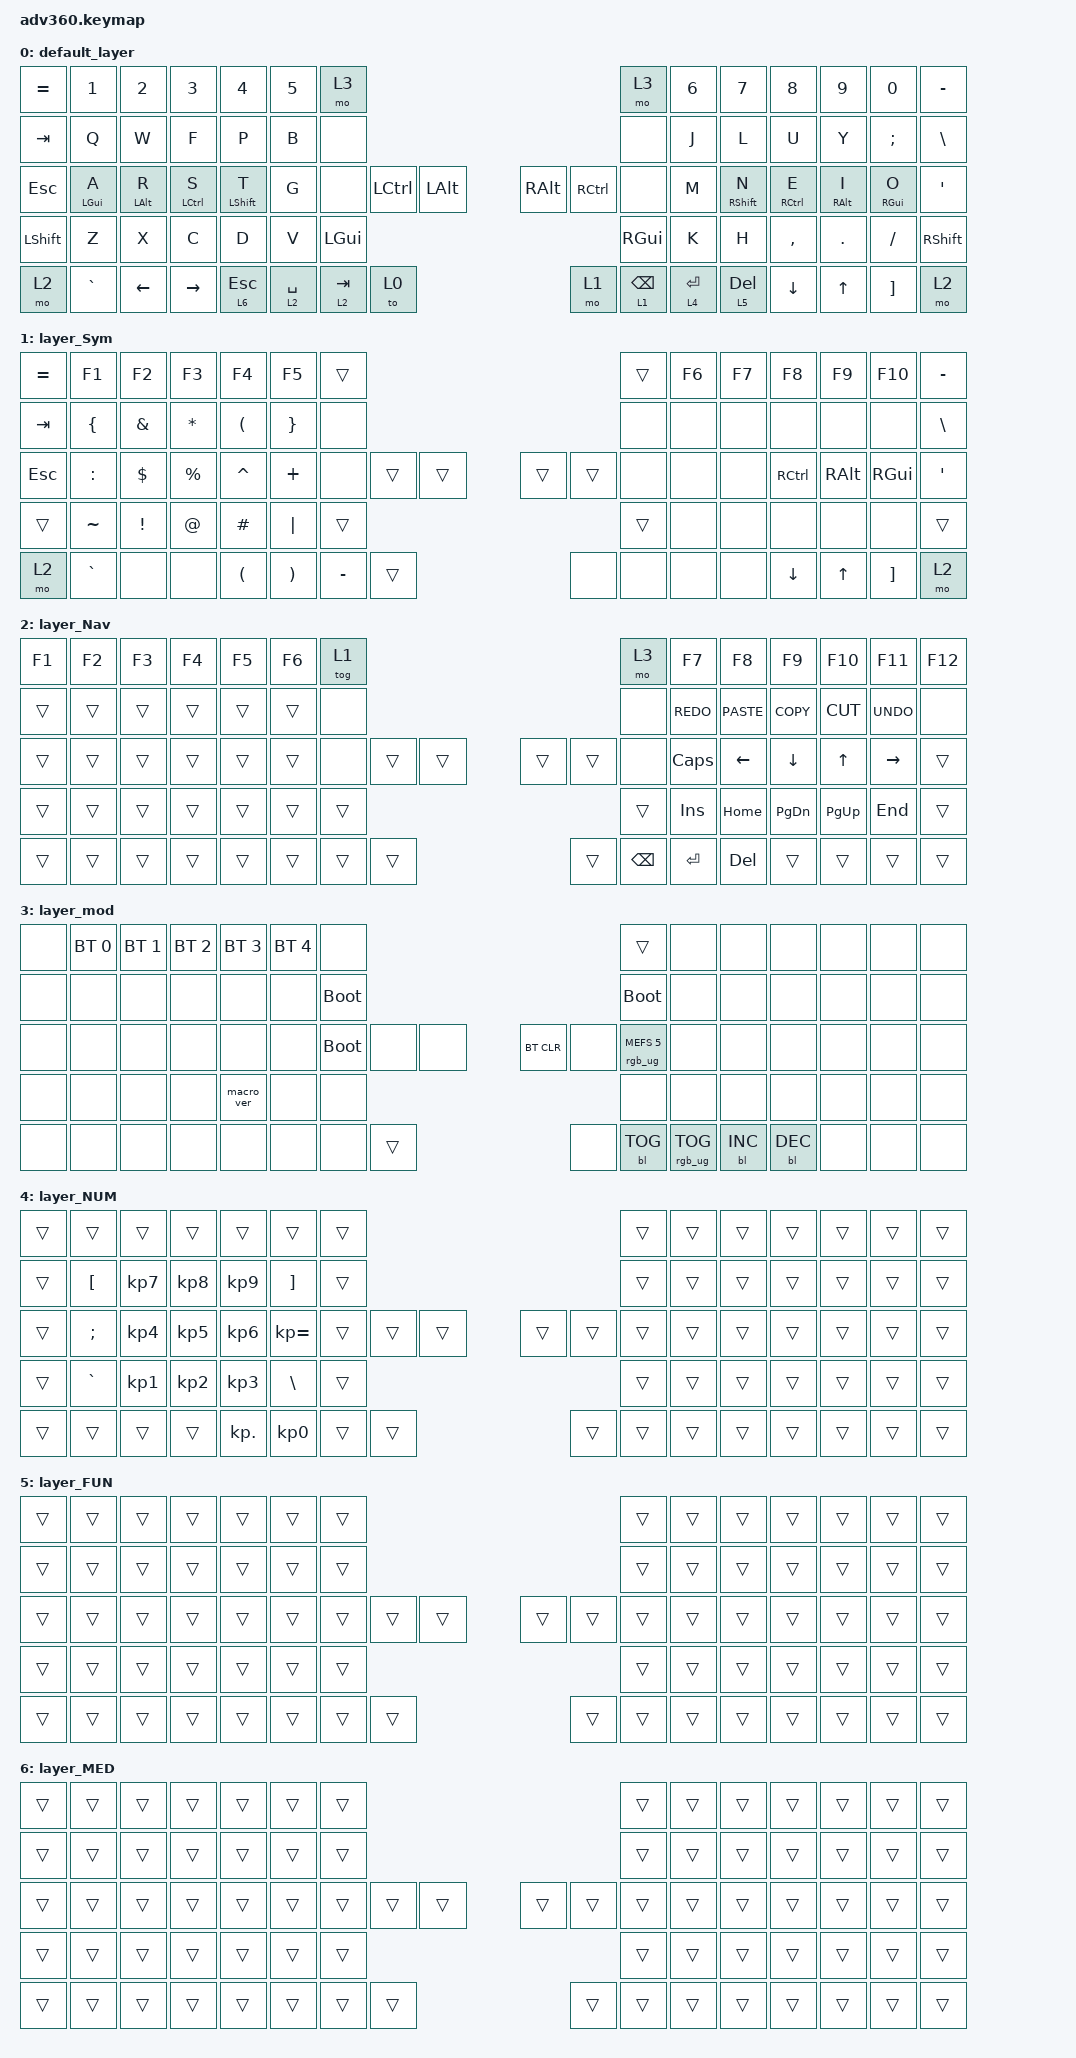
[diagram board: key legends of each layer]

/*
 * Copyright (c) 2020 The ZMK Contributors
 *
 * SPDX-License-Identifier: MIT
 */


/* THIS FILE WAS GENERATED!
 *
 * This file was generated automatically. You may or may not want to
 * edit it directly.
 */

#include <behaviors.dtsi>
#include <dt-bindings/zmk/keys.h>
#include <dt-bindings/zmk/bt.h>
#include <dt-bindings/zmk/rgb.h>
#include <dt-bindings/zmk/stp.h>
#include <dt-bindings/zmk/backlight.h>
#include <dt-bindings/zmk/pointing.h>

/ {
    behaviors {
      #include "macros.dtsi"
      #include "version.dtsi"

    hm: homerow_mods {
        compatible = "zmk,behavior-hold-tap";
        label = "HOMEROW_MODS";
        #binding-cells = <2>;
        tapping-term-ms = <200>;
        quick_tap_ms = <175>;
        flavor = "tap-preferred";
        bindings = <&kp>, <&kp>;
    };
    
    lh_pht: left_positional_hold_tap {
            compatible = "zmk,behavior-hold-tap";
            #binding-cells = <2>;
            flavor = "tap-unless-interrupted";
            tapping-term-ms = <100>;                        // <---[[produces tap if held longer than tapping-term-ms]]
            quick-tap-ms = <200>;
            bindings = <&kp>, <&kp>;
            hold-trigger-key-positions = <7 8 9 10 11 12>;    // <---[[right-hand keys]]
        };
    rh_pht: right_positional_hold_tap {
            compatible = "zmk,behavior-hold-tap";
            #binding-cells = <2>;
            flavor = "tap-unless-interrupted";
            tapping-term-ms = <100>;                        // <---[[produces tap if held longer than tapping-term-ms]]
            quick-tap-ms = <200>;
            bindings = <&kp>, <&kp>;
            hold-trigger-key-positions = <0 1 2 3 4 5 6>;    // <---[[left-hand keys]]
        };
  };
    keymap {
        compatible = "zmk,keymap";



        default_layer {
            bindings = <
      &kp EQUAL     &kp N1          &kp N2           &kp N3        &kp N4  &kp N5                  &mo 3                                                                            &mo 3  &kp N6        &kp N7     &kp N8        &kp N9         &kp N0  &kp MINUS
        &kp TAB      &kp Q           &kp W            &kp F         &kp P   &kp B                  &none                                                                            &none   &kp J         &kp L      &kp U         &kp Y  &kp SEMICOLON   &kp BSLH
        &kp ESC      &lh_pht LEFT_GUI A &lh_pht LALT R &lh_pht LCTRL S &lh_pht LEFT_SHIFT T   &kp G                  &none  &kp LCTRL      &kp LALT                  &kp RALT    &kp RCTRL            &none   &kp M         &rh_pht RIGHT_SHIFT N      &rh_pht RCTRL E         &rh_pht RALT I &rh_pht RIGHT_GUI O    &kp SQT
 &kp LEFT_SHIFT      &kp Z           &kp X            &kp C         &kp D   &kp V                                    &kp LEFT_GUI                  &kp RGUI                                 &kp K         &kp H  &kp COMMA       &kp DOT       &kp FSLH  &kp RSHFT
          &mo 2  &kp GRAVE  &kp LEFT_ARROW  &kp RIGHT_ARROW  &lt 6 ESCAPE                    &lt 2 SPACE  &lt 2 TAB         &to 0                     &mo 1    &lt 1    BACKSPACE &lt 4    ENTER  &lt 5 DELETE   &kp DOWN  &kp UP_ARROW       &kp RBKT      &mo 2
            >;
        };

        layer_Sym {
            bindings = <
 &kp EQUAL          &kp F1           &kp F2        &kp F3                &kp F4           &kp F5                           &trans                                                     &trans  &kp F6  &kp F7             &kp F8         &kp F9        &kp F10  &kp MINUS
   &kp TAB  &kp LEFT_BRACE    &kp AMPERSAND  &kp ASTERISK  &kp LEFT_PARENTHESIS  &kp RIGHT_BRACE                            &none                                                      &none   &none   &none              &none          &none          &none   &kp BSLH
   &kp ESC       &kp COLON       &kp DOLLAR   &kp PERCENT             &kp CARET         &kp PLUS                            &none     &trans  &trans                  &trans  &trans   &none   &none   &none  &kp RIGHT_CONTROL  &kp RIGHT_ALT  &kp RIGHT_GUI    &kp SQT
    &trans       &kp TILDE  &kp EXCLAMATION   &kp AT_SIGN             &kp POUND         &kp PIPE                                              &trans                  &trans                   &none   &none              &none          &none          &none     &trans
     &mo 2       &kp GRAVE            &none         &none  &kp LEFT_PARENTHESIS                             &kp RIGHT_PARENTHESIS  &kp MINUS  &trans                   &none   &none   &none           &none           &kp DOWN   &kp UP_ARROW       &kp RBKT      &mo 2
            >;
        };

        layer_Nav {
            bindings = <
 &kp F1  &kp F2  &kp F3  &kp F4  &kp F5  &kp F6            &tog 1                                                             &mo 3        &kp F7       &kp F8         &kp F9      &kp F10     &kp F11  &kp F12
 &trans  &trans  &trans  &trans  &trans  &trans             &none                                                             &none    &kp K_REDO  &kp K_PASTE     &kp K_COPY    &kp K_CUT  &kp K_UNDO    &none
 &trans  &trans  &trans  &trans  &trans  &trans             &none  &trans  &trans                  &trans     &trans          &none  &kp CAPSLOCK     &kp LEFT       &kp DOWN       &kp UP   &kp RIGHT   &trans
 &trans  &trans  &trans  &trans  &trans  &trans                            &trans                  &trans                              &kp INSERT     &kp HOME  &kp PAGE_DOWN  &kp PAGE_UP     &kp END   &trans
 &trans  &trans  &trans  &trans  &trans                    &trans  &trans  &trans                  &trans  &kp BACKSPACE  &kp ENTER                    &kp DEL         &trans       &trans      &trans   &trans
            >;
        };

        layer_mod {
            bindings = <
  &none  &bt BT_SEL 0  &bt BT_SEL 1  &bt BT_SEL 2  &bt BT_SEL 3  &bt BT_SEL 4                  &none                                                                          &trans   &none       &none       &none   &none   &none   &none
  &none         &none         &none         &none         &none         &none            &bootloader                                                                     &bootloader   &none       &none       &none   &none   &none   &none
  &none         &none         &none         &none         &none         &none            &bootloader   &none   &none                  &bt BT_CLR       &none  &rgb_ug RGB_MEFS_CMD 5   &none       &none       &none   &none   &none   &none
  &none         &none         &none         &none    &macro_ver         &none                                  &none                       &none                                       &none       &none       &none   &none   &none   &none
  &none         &none         &none         &none         &none                                &none   &none  &trans                       &none  &bl BL_TOG         &rgb_ug RGB_TOG          &bl BL_INC  &bl BL_DEC   &none   &none   &none
            >;
        };

        layer_NUM {
            bindings = <
 &trans            &trans           &trans           &trans           &trans             &trans                     &trans                                                  &trans  &trans  &trans  &trans  &trans  &trans  &trans
 &trans  &kp LEFT_BRACKET        &kp KP_N7        &kp KP_N8        &kp KP_N9  &kp RIGHT_BRACKET                     &trans                                                  &trans  &trans  &trans  &trans  &trans  &trans  &trans
 &trans     &kp SEMICOLON  &kp KP_NUMBER_4        &kp KP_N5        &kp KP_N6       &kp KP_EQUAL                     &trans  &trans  &trans                  &trans  &trans  &trans  &trans  &trans  &trans  &trans  &trans  &trans
 &trans         &kp GRAVE  &kp KP_NUMBER_1  &kp KP_NUMBER_2  &kp KP_NUMBER_3      &kp BACKSLASH                                     &trans                  &trans                  &trans  &trans  &trans  &trans  &trans  &trans
 &trans            &trans           &trans           &trans       &kp KP_DOT                               &kp KP_NUMBER_0  &trans  &trans                  &trans  &trans  &trans          &trans  &trans  &trans  &trans  &trans
            >;
        };

        layer_FUN {
            bindings = <
 &trans  &trans  &trans  &trans  &trans  &trans            &trans                                                  &trans  &trans  &trans  &trans  &trans  &trans  &trans
 &trans  &trans  &trans  &trans  &trans  &trans            &trans                                                  &trans  &trans  &trans  &trans  &trans  &trans  &trans
 &trans  &trans  &trans  &trans  &trans  &trans            &trans  &trans  &trans                  &trans  &trans  &trans  &trans  &trans  &trans  &trans  &trans  &trans
 &trans  &trans  &trans  &trans  &trans  &trans                            &trans                  &trans                  &trans  &trans  &trans  &trans  &trans  &trans
 &trans  &trans  &trans  &trans  &trans                    &trans  &trans  &trans                  &trans  &trans  &trans          &trans  &trans  &trans  &trans  &trans
            >;
        };

        layer_MED {
            bindings = <
 &trans  &trans  &trans  &trans  &trans  &trans            &trans                                                  &trans  &trans  &trans  &trans  &trans  &trans  &trans
 &trans  &trans  &trans  &trans  &trans  &trans            &trans                                                  &trans  &trans  &trans  &trans  &trans  &trans  &trans
 &trans  &trans  &trans  &trans  &trans  &trans            &trans  &trans  &trans                  &trans  &trans  &trans  &trans  &trans  &trans  &trans  &trans  &trans
 &trans  &trans  &trans  &trans  &trans  &trans                            &trans                  &trans                  &trans  &trans  &trans  &trans  &trans  &trans
 &trans  &trans  &trans  &trans  &trans                    &trans  &trans  &trans                  &trans  &trans  &trans          &trans  &trans  &trans  &trans  &trans
            >;
        };

    };
};
